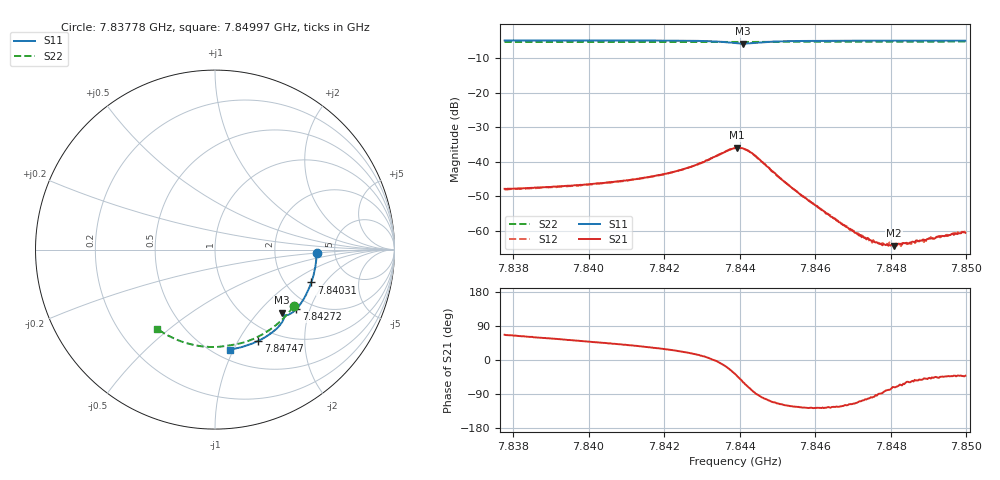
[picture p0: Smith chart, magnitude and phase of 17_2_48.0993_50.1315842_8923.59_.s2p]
#  HZ  S  RI  R  50.00
! Rohde & Schwarz Vector Network Analyzer
! Rohde-Schwarz,ZNB20-2Port,1311601062101988,3.16
! Created: UTC 12/23/2023, 3:36:17 AM
! freq[Hz]  re:S11  im:S11  re:S21  im:S21  re:S12  im:S12  re:S22  im:S22
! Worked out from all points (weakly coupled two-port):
!   401 points, 7.83778 GHz to 7.84997 GHz, reference 50 ohm
!   highest |S21| = -35.95 dB at 7.84394 GHz (marker M1); lowest = -64.2 dB at 7.84808 GHz (marker M2)
!   lowest |S11| = -5.8 dB at 7.84409 GHz (marker M3), VSWR 3.10, Z = 71.3 - j67.9 ohm
!   |S11| at or under -10 dB: nowhere
!   |S22| runs from -5.4 to -5.3 dB; largest |S21 - S12| = 0.00034
!   S11 on the Smith chart (normalised r, x): 7.83778 GHz: 3.61, -0.18; 7.84031 GHz: 2.73, -1.48; 7.84272 GHz: 1.68, -1.62; 7.84747 GHz: 0.82, -1.22; 7.84997 GHz: 0.59, -0.97
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7.837778e9  0.5664 -0.0171  0.00162 0.00374  0.00164 0.00362  0.4376 -0.3165
7.839821e9  0.5465 -0.1517  0.00296 0.00355  0.00292 0.00355  0.3397 -0.4206
7.840309e9  0.5366 -0.1832  0.00341 0.00353  0.00339 0.00351  0.3125 -0.4414
7.841863e9  0.4912 -0.2802  0.00554 0.00329  0.0055 0.00326  0.218 -0.4955
7.842717e9  0.4536 -0.3306  0.00812 0.00255  0.00804 0.00257  0.1616 -0.5168
7.843449e9  0.4051 -0.3644  0.0127 -0.00139  0.0125 -0.00148  0.1114 -0.5289
7.843876e9  0.3737 -0.3603  0.0126 -0.00939  0.0127 -0.00939  0.0832 -0.5326
7.843937e9  0.3717 -0.3575  0.0117 -0.0109  0.0116 -0.0106  0.0794 -0.5332
7.844089e9  0.3722 -0.3515  0.00804 -0.0134  0.00831 -0.0132  0.07 -0.5344
7.844364e9  0.3821 -0.3551  0.0014 -0.0127  0.00169 -0.0127  0.0524 -0.5375
7.845187e9  0.369 -0.4115  -0.0025 -0.00448  -0.00246 -0.00451  -0.00514 -0.5428
7.845918e9  0.3321 -0.4503  -0.00151 -0.00204  -0.0015 -0.00204  -0.0567 -0.5407
7.846864e9  0.2784 -0.4886  -0.000541 -0.000978  -0.000518 -0.000972  -0.1225 -0.5304
7.847108e9  0.2638 -0.4968  -0.00035 -0.00084  -0.000356 -0.000866  -0.1392 -0.5264
7.847473e9  0.2417 -0.5083  -0.000102 -0.000726  -0.000164 -0.000724  -0.1638 -0.5194
7.847717e9  0.2268 -0.5153  1.44e-05 -0.000656  1.74e-06 -0.000649  -0.1802 -0.5143
7.847961e9  0.2118 -0.5217  0.000124 -0.000615  0.000174 -0.000661  -0.1964 -0.5084
7.848083e9  0.2041 -0.5248  0.000193 -0.000583  0.000203 -0.000613  -0.2045 -0.5054
7.84848e9  0.1791 -0.5339  0.000349 -0.000567  0.000309 -0.000584  -0.2299 -0.4945
7.848876e9  0.1538 -0.5416  0.000498 -0.000561  0.000467 -0.000511  -0.2549 -0.4822
7.849028e9  0.1438 -0.5443  0.000537 -0.000579  0.000529 -0.000582  -0.2645 -0.4773
7.849974e9  0.0821 -0.5566  0.000706 -0.000625  0.000722 -0.000654  -0.3207 -0.4422
